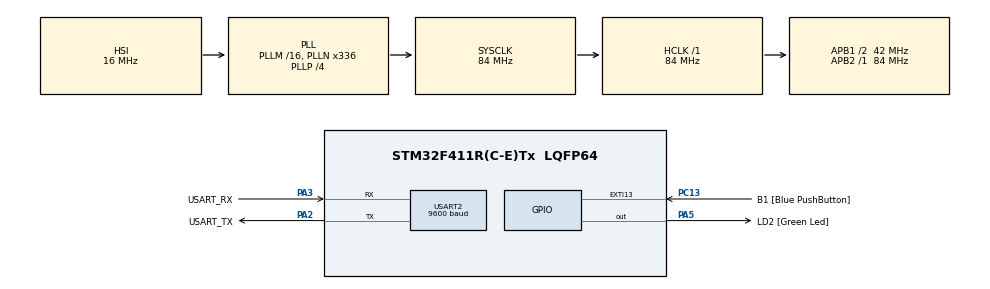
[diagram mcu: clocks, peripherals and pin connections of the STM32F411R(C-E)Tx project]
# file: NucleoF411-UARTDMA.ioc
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Dma.Request0=USART2_RX
Dma.USART2_RX.0.Direction=DMA_PERIPH_TO_MEMORY
Dma.USART2_RX.0.FIFOMode=DMA_FIFOMODE_DISABLE
Dma.USART2_RX.0.Instance=DMA1_Stream5
Dma.USART2_RX.0.MemDataAlignment=DMA_MDATAALIGN_BYTE
Dma.USART2_RX.0.MemInc=DMA_MINC_ENABLE
Dma.USART2_RX.0.Mode=DMA_NORMAL
Dma.USART2_RX.0.PeriphDataAlignment=DMA_PDATAALIGN_BYTE
Dma.USART2_RX.0.PeriphInc=DMA_PINC_DISABLE
Dma.USART2_RX.0.Priority=DMA_PRIORITY_VERY_HIGH
Mcu.Family=STM32F4
Mcu.Name=STM32F411R(C-E)Tx
Mcu.Package=LQFP64
NVIC.DMA1_Stream5_IRQn=true\:0\:0\:false\:false\:true\:false
NVIC.PriorityGroup=NVIC_PRIORITYGROUP_0
NVIC.USART2_IRQn=true\:0\:0\:false\:false\:true\:true
PA13.GPIO_Label=TMS
PA13.Signal=SYS_JTMS-SWDIO
PA14.GPIO_Label=TCK
PA14.Signal=SYS_JTCK-SWCLK
PA2.GPIO_Label=USART_TX
PA2.Mode=Asynchronous
PA2.Signal=USART2_TX
PA3.GPIO_Label=USART_RX
PA3.Mode=Asynchronous
PA3.Signal=USART2_RX
PA5.GPIO_Label=LD2 [Green Led]
PA5.Signal=GPIO_Output
PB3.GPIO_Label=SWO
PB3.Signal=SYS_JTDO-SWO
PC13-ANTI_TAMP.GPIO_Label=B1 [Blue PushButton]
PC13-ANTI_TAMP.GPIO_ModeDefaultEXTI=GPIO_MODE_IT_FALLING
PC13-ANTI_TAMP.Signal=GPXTI13
PC14-OSC32_IN.Signal=RCC_OSC32_IN
PC15-OSC32_OUT.Signal=RCC_OSC32_OUT
PH0\ -\ OSC_IN.Signal=RCC_OSC_IN
PH1\ -\ OSC_OUT.Signal=RCC_OSC_OUT
ProjectManager.HeapSize=0x200
ProjectManager.StackSize=0x400
ProjectManager.TargetToolchain=SW4STM32
RCC.48MHZClocksFreq_Value=84000000
RCC.AHBFreq_Value=84000000
RCC.APB1CLKDivider=RCC_HCLK_DIV2
RCC.APB1Freq_Value=42000000
RCC.APB1TimFreq_Value=84000000
RCC.APB2Freq_Value=84000000
RCC.APB2TimFreq_Value=84000000
RCC.CortexFreq_Value=84000000
RCC.FLatency-AdvancedSettings=FLASH_LATENCY_2
RCC.HCLKFreq_Value=84000000
RCC.HSE_VALUE=8000000
RCC.HSI_VALUE=16000000
RCC.LSE_VALUE=32768
RCC.PLLN=336
RCC.PLLP=RCC_PLLP_DIV4
RCC.SYSCLKFreq_VALUE=84000000
RCC.SYSCLKSource=RCC_SYSCLKSOURCE_PLLCLK
RCC.VCOOutputFreq_Value=336000000
USART2.BaudRate=9600
USART2.VirtualMode=VM_ASYNC
board=NUCLEO-F411RE

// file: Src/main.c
/**
  ******************************************************************************
  * File Name          : main.c
  * Description        : Main program body
  ******************************************************************************
  ** This notice applies to any and all portions of this file
  * that are not between comment pairs USER CODE BEGIN and
  * USER CODE END. Other portions of this file, whether
  * inserted by the user or by software development tools
  * are owned by their respective copyright owners.
  *
  * COPYRIGHT(c) 2017 STMicroelectronics
  *
  * Redistribution and use in source and binary forms, with or without modification,
  * are permitted provided that the following conditions are met:
  *   1. Redistributions of source code must retain the above copyright notice,
  *      this list of conditions and the following disclaimer.
  *   2. Redistributions in binary form must reproduce the above copyright notice,
  *      this list of conditions and the following disclaimer in the documentation
  *      and/or other materials provided with the distribution.
  *   3. Neither the name of STMicroelectronics nor the names of its contributors
  *      may be used to endorse or promote products derived from this software
  *      without specific prior written permission.
  *
  * THIS SOFTWARE IS PROVIDED BY THE COPYRIGHT HOLDERS AND CONTRIBUTORS "AS IS"
  * AND ANY EXPRESS OR IMPLIED WARRANTIES, INCLUDING, BUT NOT LIMITED TO, THE
  * IMPLIED WARRANTIES OF MERCHANTABILITY AND FITNESS FOR A PARTICULAR PURPOSE ARE
  * DISCLAIMED. IN NO EVENT SHALL THE COPYRIGHT HOLDER OR CONTRIBUTORS BE LIABLE
  * FOR ANY DIRECT, INDIRECT, INCIDENTAL, SPECIAL, EXEMPLARY, OR CONSEQUENTIAL
  * DAMAGES (INCLUDING, BUT NOT LIMITED TO, PROCUREMENT OF SUBSTITUTE GOODS OR
  * SERVICES; LOSS OF USE, DATA, OR PROFITS; OR BUSINESS INTERRUPTION) HOWEVER
  * CAUSED AND ON ANY THEORY OF LIABILITY, WHETHER IN CONTRACT, STRICT LIABILITY,
  * OR TORT (INCLUDING NEGLIGENCE OR OTHERWISE) ARISING IN ANY WAY OUT OF THE USE
  * OF THIS SOFTWARE, EVEN IF ADVISED OF THE POSSIBILITY OF SUCH DAMAGE.
  *
  ******************************************************************************
  */
#include "main.h"
#include "stm32f4xx_hal.h"

/* USER CODE BEGIN Includes */
#include "string.h"
/* USER CODE END Includes */

UART_HandleTypeDef huart2;
DMA_HandleTypeDef hdma_usart2_rx;

/* USER CODE BEGIN PV */
/* Private variables ---------------------------------------------------------*/

/* USER CODE END PV */

void SystemClock_Config(void);
static void MX_GPIO_Init(void);
static void MX_DMA_Init(void);
static void MX_USART2_UART_Init(void);

/* USER CODE BEGIN PFP */
/* Private function prototypes -----------------------------------------------*/
uint8_t UART2_Data[30];
uint8_t UART2_Len;
uint8_t UART2_Buff[1];
uint8_t UART2_GetData[30];

/* USER CODE END PFP */

/* USER CODE BEGIN 0 */
int _write( int file, char *ptr, int len )
{
  HAL_UART_Transmit(&huart2,(uint8_t*) ptr, len, 1000);
  return len;
}

void HAL_UART_RxCpltCallback(UART_HandleTypeDef *UartHandle){

	if(UartHandle->Instance==USART2){
		switch(UART2_Buff [0]){
			case 0x0A:
			case 0x0D:
				//改行文字受信で処理
				memcpy(UART2_GetData, UART2_Data, UART2_Len);
				UART2_Len = 0;

				printf("GET:%s \n",UART2_GetData);
				break;
			default:
				UART2_Data[UART2_Len++]=UART2_Buff[0];
				if(UART2_Len >= 29){
					UART2_Len = 0;//バッファオーバー
				}
				break;
		}
		HAL_UART_Receive_DMA( &huart2,(uint8_t*)& UART2_Buff, 1);
	}

}
/* USER CODE END 0 */

int main(void)
{

  /* MCU Configuration----------------------------------------------------------*/

  /* Reset of all peripherals, Initializes the Flash interface and the Systick. */
  HAL_Init();

  /* Configure the system clock */
  SystemClock_Config();

  /* Initialize all configured peripherals */
  MX_GPIO_Init();
  MX_DMA_Init();
  MX_USART2_UART_Init();

  /* USER CODE BEGIN 2 */
  HAL_UART_Receive_DMA( &huart2,(uint8_t*)& UART2_Buff, 1);
  /* USER CODE END 2 */

  /* Infinite loop */
  while (1)
  {

  }

}

/** System Clock Configuration
*/
void SystemClock_Config(void)
{

  RCC_OscInitTypeDef RCC_OscInitStruct;
  RCC_ClkInitTypeDef RCC_ClkInitStruct;

    /**Configure the main internal regulator output voltage
    */
  __HAL_RCC_PWR_CLK_ENABLE();

  __HAL_PWR_VOLTAGESCALING_CONFIG(PWR_REGULATOR_VOLTAGE_SCALE1);

    /**Initializes the CPU, AHB and APB busses clocks
    */
  RCC_OscInitStruct.OscillatorType = RCC_OSCILLATORTYPE_HSI;
  RCC_OscInitStruct.HSIState = RCC_HSI_ON;
  RCC_OscInitStruct.HSICalibrationValue = 16;
  RCC_OscInitStruct.PLL.PLLState = RCC_PLL_ON;
  RCC_OscInitStruct.PLL.PLLSource = RCC_PLLSOURCE_HSI;
  RCC_OscInitStruct.PLL.PLLM = 16;
  RCC_OscInitStruct.PLL.PLLN = 336;
  RCC_OscInitStruct.PLL.PLLP = RCC_PLLP_DIV4;
  RCC_OscInitStruct.PLL.PLLQ = 4;
  if (HAL_RCC_OscConfig(&RCC_OscInitStruct) != HAL_OK)
  {
    _Error_Handler(__FILE__, __LINE__);
  }

    /**Initializes the CPU, AHB and APB busses clocks
    */
  RCC_ClkInitStruct.ClockType = RCC_CLOCKTYPE_HCLK|RCC_CLOCKTYPE_SYSCLK
                              |RCC_CLOCKTYPE_PCLK1|RCC_CLOCKTYPE_PCLK2;
  RCC_ClkInitStruct.SYSCLKSource = RCC_SYSCLKSOURCE_PLLCLK;
  RCC_ClkInitStruct.AHBCLKDivider = RCC_SYSCLK_DIV1;
  RCC_ClkInitStruct.APB1CLKDivider = RCC_HCLK_DIV2;
  RCC_ClkInitStruct.APB2CLKDivider = RCC_HCLK_DIV1;

  if (HAL_RCC_ClockConfig(&RCC_ClkInitStruct, FLASH_LATENCY_2) != HAL_OK)
  {
    _Error_Handler(__FILE__, __LINE__);
  }

    /**Configure the Systick interrupt time
    */
  HAL_SYSTICK_Config(HAL_RCC_GetHCLKFreq()/1000);

    /**Configure the Systick
    */
  HAL_SYSTICK_CLKSourceConfig(SYSTICK_CLKSOURCE_HCLK);

  /* SysTick_IRQn interrupt configuration */
  HAL_NVIC_SetPriority(SysTick_IRQn, 0, 0);
}

/* USART2 init function */
static void MX_USART2_UART_Init(void)
{

  huart2.Instance = USART2;
  huart2.Init.BaudRate = 9600;
  huart2.Init.WordLength = UART_WORDLENGTH_8B;
  huart2.Init.StopBits = UART_STOPBITS_1;
  huart2.Init.Parity = UART_PARITY_NONE;
  huart2.Init.Mode = UART_MODE_TX_RX;
  huart2.Init.HwFlowCtl = UART_HWCONTROL_NONE;
  huart2.Init.OverSampling = UART_OVERSAMPLING_16;
  if (HAL_UART_Init(&huart2) != HAL_OK)
  {
    _Error_Handler(__FILE__, __LINE__);
  }

}

static void MX_DMA_Init(void)
{
  /* DMA controller clock enable */
  __HAL_RCC_DMA1_CLK_ENABLE();

  /* DMA interrupt init */
  /* DMA1_Stream5_IRQn interrupt configuration */
  HAL_NVIC_SetPriority(DMA1_Stream5_IRQn, 0, 0);
  HAL_NVIC_EnableIRQ(DMA1_Stream5_IRQn);

}

/** Configure pins as
        * Analog
        * Input
        * Output
        * EVENT_OUT
        * EXTI
*/
static void MX_GPIO_Init(void)
{

  GPIO_InitTypeDef GPIO_InitStruct;

  /* GPIO Ports Clock Enable */
  __HAL_RCC_GPIOC_CLK_ENABLE();
  __HAL_RCC_GPIOH_CLK_ENABLE();
  __HAL_RCC_GPIOA_CLK_ENABLE();
  __HAL_RCC_GPIOB_CLK_ENABLE();

  /*Configure GPIO pin Output Level */
  HAL_GPIO_WritePin(LD2_GPIO_Port, LD2_Pin, GPIO_PIN_RESET);

  /*Configure GPIO pin : B1_Pin */
  GPIO_InitStruct.Pin = B1_Pin;
  GPIO_InitStruct.Mode = GPIO_MODE_IT_FALLING;
  GPIO_InitStruct.Pull = GPIO_NOPULL;
  HAL_GPIO_Init(B1_GPIO_Port, &GPIO_InitStruct);

  /*Configure GPIO pin : LD2_Pin */
  GPIO_InitStruct.Pin = LD2_Pin;
  GPIO_InitStruct.Mode = GPIO_MODE_OUTPUT_PP;
  GPIO_InitStruct.Pull = GPIO_NOPULL;
  GPIO_InitStruct.Speed = GPIO_SPEED_FREQ_LOW;
  HAL_GPIO_Init(LD2_GPIO_Port, &GPIO_InitStruct);

}

void _Error_Handler(char * file, int line)
{
  while(1)
  {
  }
}

/************************ (C) COPYRIGHT STMicroelectronics *****END OF FILE****/
